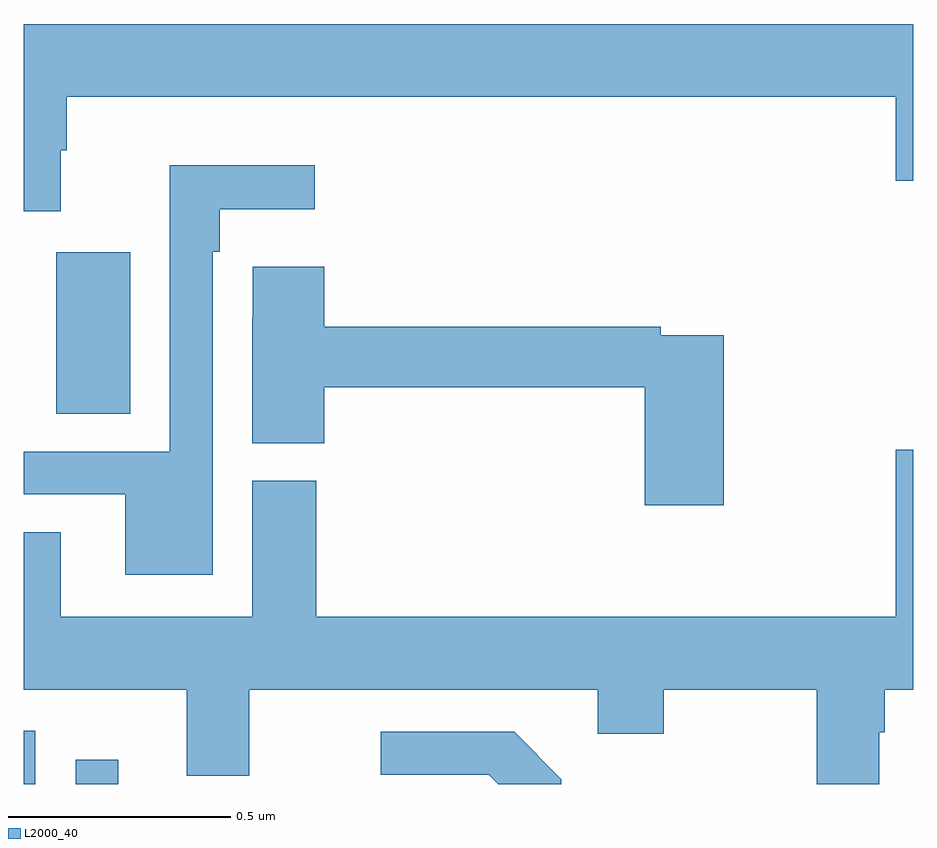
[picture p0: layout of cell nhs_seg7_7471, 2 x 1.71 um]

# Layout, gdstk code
import gdstk
lib = gdstk.Library(unit=1e-6, precision=1e-09)
def R(c, l, rs):  # rectangles x0, y0, x1, y1
    for r in rs: c.add(gdstk.rectangle(r[:2], r[2:], *l))
def P(c, l, *ps):  # polygons
    for p in ps: c.add(gdstk.Polygon(p, *l))
L2000_40 = (2000, 40)

nhs_seg7_7471 = lib.new_cell('nhs_seg7_7471')
R(nhs_seg7_7471, L2000_40, [(211,1071,211.026,1071.12), (211.117,1071,211.213,1071.055), (211.073,1071.832,211.24,1072.195)])
P(nhs_seg7_7471, L2000_40, [(211.084,1072.424),(211.097,1072.424),(211.097,1072.544),(212.96,1072.544),(212.96,1072.356),(213,1072.356),(213,1072.708),(211,1072.708),(211,1072.287),(211.084,1072.287)],
  [(211.425,1072.196),(211.441,1072.196),(211.441,1072.292),(211.654,1072.292),(211.654,1072.39),(211.329,1072.39),(211.329,1071.747),(211,1071.747),(211,1071.651),(211.229,1071.651),(211.229,1071.47),(211.425,1071.47)],
  [(212.574,1072.008),(212.432,1072.008),(212.432,1072.028),(211.676,1072.028),(211.676,1072.162),(211.515,1072.162),(211.515,1072.049),(211.514,1072.049),(211.514,1071.766),(211.676,1071.766),(211.676,1071.892),(212.396,1071.892),(212.396,1071.627),(212.574,1071.627)],
  [(212.923,1071.116),(212.936,1071.116),(212.936,1071.212),(213,1071.212),(213,1071.751),(212.96,1071.751),(212.96,1071.376),(211.658,1071.376),(211.658,1071.681),(211.514,1071.681),(211.514,1071.376),(211.084,1071.376),(211.084,1071.566),(211,1071.566),(211,1071.212),(211.367,1071.212),(211.367,1071.018),(211.507,1071.018),(211.507,1071.212),(212.291,1071.212),(212.291,1071.113),(212.439,1071.113),(212.439,1071.212),(212.783,1071.212),(212.783,1071),(212.923,1071)],
  [(212.209,1071.011),(212.103,1071.117),(211.803,1071.117),(211.803,1071.021),(212.046,1071.021),(212.067,1071),(212.209,1071)])

lib.write_gds('nhs_seg7_7471.gds')
